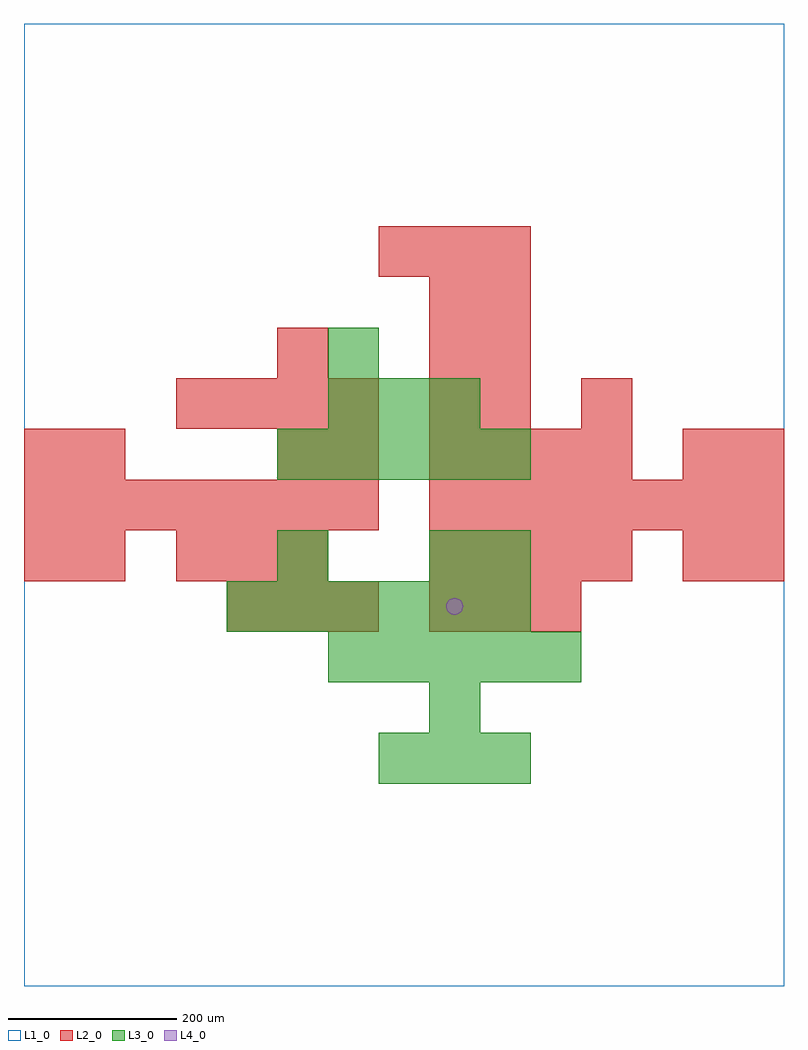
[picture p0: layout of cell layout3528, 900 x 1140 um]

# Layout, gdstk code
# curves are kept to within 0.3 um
import gdstk
lib = gdstk.Library(unit=1e-6, precision=1e-09)
def R(c, l, rs):  # rectangles x0, y0, x1, y1
    for r in rs: c.add(gdstk.rectangle(r[:2], r[2:], *l))
def A(c, l, x, y, w, h, nx, ny, dx, dy):  # array of equal rectangles
    R(c, l, [(x+i*dx, y+j*dy, x+i*dx+w, y+j*dy+h) for i in range(nx) for j in range(ny)])
def P(c, l, *ps):  # polygons
    for p in ps: c.add(gdstk.Polygon(p, *l))
L1_0 = (1, 0)
L2_0 = (2, 0)
L3_0 = (3, 0)
L4_0 = (4, 0)

layout3528 = lib.new_cell('layout3528')
R(layout3528, L1_0, [(0,0,900,1140)])
A(layout3528, L2_0, 240, 420, 60, 60, 3, 1, 60, 0)
A(layout3528, L2_0, 480, 420, 60, 60, 3, 1, 60, 0)
A(layout3528, L2_0, 180, 480, 60, 60, 3, 1, 60, 0)
A(layout3528, L2_0, 480, 480, 60, 60, 4, 2, 60, 120)
A(layout3528, L2_0, 0, 540, 60, 60, 7, 1, 60, 0)
A(layout3528, L2_0, 480, 540, 60, 60, 7, 1, 60, 0)
A(layout3528, L2_0, 180, 660, 60, 60, 4, 1, 60, 0)
A(layout3528, L2_0, 480, 660, 60, 60, 1, 3, 0, 60)
A(layout3528, L2_0, 540, 660, 60, 60, 1, 3, 0, 60)
A(layout3528, L2_0, 420, 840, 60, 60, 3, 1, 60, 0)
R(layout3528, L2_0, [(0,480,60,540), (60,480,120,540), (780,480,840,540), (840,480,900,540), (0,600,60,660), (60,600,120,660), (300,600,360,660), (360,600,420,660), (780,600,840,660), (840,600,900,660), (660,660,720,720), (300,720,360,780)])
A(layout3528, L3_0, 420, 240, 60, 60, 3, 1, 60, 0)
A(layout3528, L3_0, 360, 360, 60, 60, 5, 1, 60, 0)
A(layout3528, L3_0, 240, 420, 60, 60, 6, 1, 60, 0)
A(layout3528, L3_0, 300, 600, 60, 60, 5, 1, 60, 0)
A(layout3528, L3_0, 360, 660, 60, 60, 3, 1, 60, 0)
R(layout3528, L3_0, [(480,300,540,360), (300,480,360,540), (480,480,540,540), (540,480,600,540), (360,720,420,780)])
P(layout3528, L4_0, [(520,450),(519.239,453.827),(517.071,457.071),(513.827,459.239),(510,460),(506.173,459.239),(502.929,457.071),(500.761,453.827),(500,450),(500.761,446.173),(502.929,442.929),(506.173,440.761),(510,440),(513.827,440.761),(517.071,442.929),(519.239,446.173)])

lib.write_gds('layout3528.gds')
